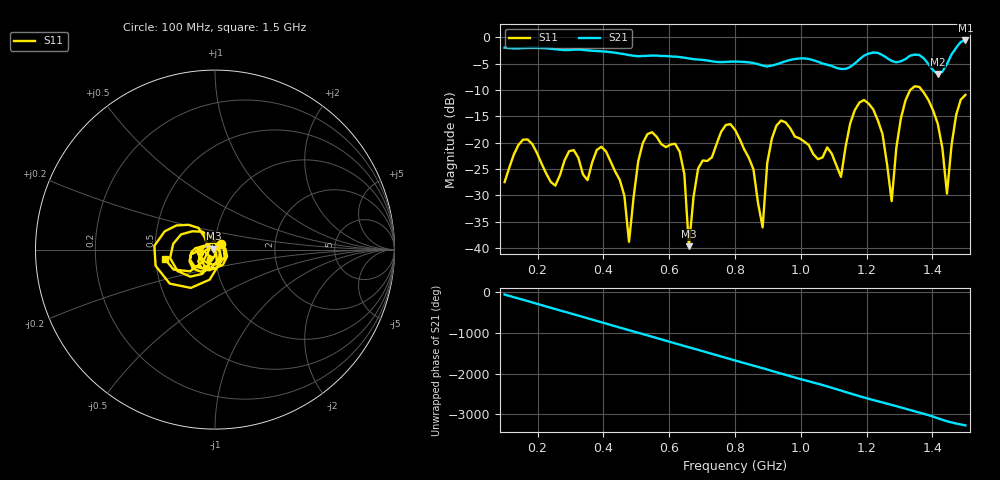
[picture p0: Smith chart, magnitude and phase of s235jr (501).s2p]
! NanoVNA-App
! Date: 2025-09-25 15:08:03
! Start: 100MHz Stop: 1,5GHz Points: 101
! S-Parameter data: F S11 S21 S12 S22
# Hz S RI R 50
!  Frequency  S11_Real  S11_Imag  S21_Real  S21_Imag  S12_Real  S12_Imag  S22_Real  S22_Imag
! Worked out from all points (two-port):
!   101 points, 100 MHz to 1.5 GHz, reference 50 ohm
!   highest |S21| = -0.59 dB at 1.5 GHz (marker M1); lowest = -6.9 dB at 1.416 GHz (marker M2)
!   |S21| within 3 dB of the highest: start of sweep to 598.8 MHz; 1.19 GHz to 1.254 GHz (64.06 MHz wide, 5.24 % of centre) (the widest 2 of 4)
!   lowest |S11| = -39.6 dB at 660 MHz (marker M3), VSWR 1.02, Z = 49.2 + j0.592 ohm
!   |S11| at or under -10 dB: start of sweep to 1.332 GHz; 1.367 GHz to end of sweep
!   S12 and S22 are empty: the file has one direction only
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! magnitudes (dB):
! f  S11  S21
! 100 MHz  -27.5  -2.0
! 156 MHz  -19.4  -2.0
! 338 MHz  -26.0  -2.4
! 408 MHz  -21.6  -2.7
! 478 MHz  -38.8  -3.4
! 520 MHz  -20.1  -3.5
! 576 MHz  -20.3  -3.5
! 632 MHz  -21.7  -3.7
! 660 MHz  -39.6  -4.0
! 688 MHz  -24.9  -4.2
! 800 MHz  -17.5  -4.6
! 884 MHz  -36.1  -5.3
! 926 MHz  -16.7  -5.1
! 1.038 GHz  -22.2  -4.3
! 1.122 GHz  -26.5  -6.0
! 1.192 GHz  -11.9  -3.5
! 1.248 GHz  -18.3  -3.4
! 1.276 GHz  -31.1  -4.5
! 1.332 GHz  -10.0  -3.5
! 1.416 GHz  -16.4  -6.9
! 1.444 GHz  -29.7  -5.1
! 1.5 GHz  -10.9  -0.6
